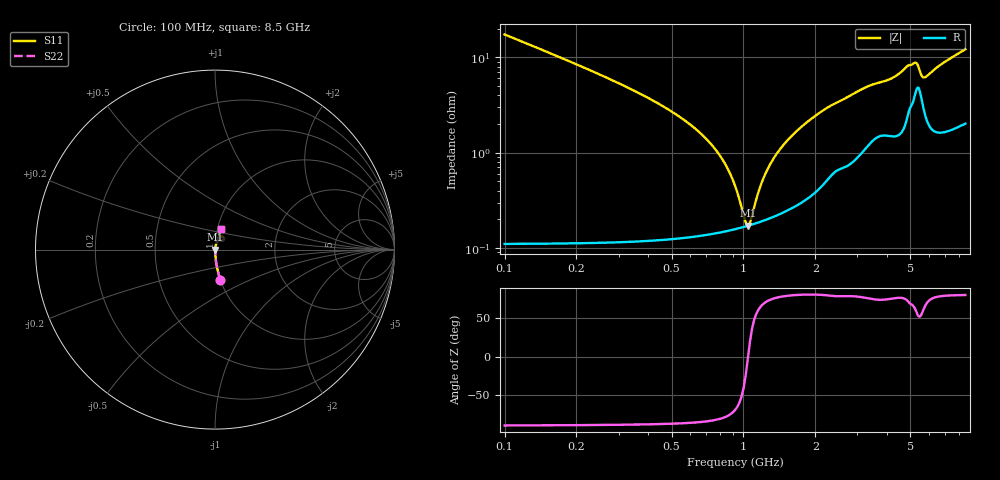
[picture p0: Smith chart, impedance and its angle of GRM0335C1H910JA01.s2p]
!Murata Part Number: GRM0335C1H910JA01
!These Parameters are Measured in Series Mode Connection
!Data Generated on Mar 30, 2021
!  o--ll--o
!Port1  Port2
!  o------o
!Operation Temp=25[degC], DC Bias Voltage=0[V]
!Freq. Start=100[MHz] Stop=9[GHz] 401[Steps]
# Hz S RI R 50
!Freq.(Hz) S11(Real) S11(Imag) S21(Real) S21(Imag) S12(Real) S12(Imag) S22(Real) S22(Imag)
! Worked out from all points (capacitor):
!   401 points, 100 MHz to 8.5 GHz, reference 50 ohm
!   read as one part in series: C = 91 pF near 142 MHz
!   lowest |Z| = 171 mohm at 1.045 GHz (marker M1)
!   series resonance near 1.045 GHz, so ESL is about 250 pH
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1e8  0.0302 -0.1679  0.9698 0.1679  0.9698 0.1679  0.0302 -0.1679
2.05e8  0.00779 -0.0813  0.9922 0.0813  0.9922 0.0813  0.00779 -0.0813
2.89e8  0.00425 -0.0556  0.9957 0.0556  0.9957 0.0556  0.00425 -0.0556
6.67e8  0.00159 -0.0155  0.9984 0.0155  0.9984 0.0155  0.00159 -0.0155
7.93e8  0.00154 -0.00937  0.9985 0.00937  0.9985 0.00937  0.00154 -0.00937
8.98e8  0.00157 -0.00511  0.9984 0.00511  0.9984 0.00511  0.00157 -0.00511
1.003e9  0.00166 -0.00139  0.9983 0.00139  0.9983 0.00139  0.00166 -0.00139
1.045e9  0.00171 -1.26e-05  0.9983 1.26e-05  0.9983 1.26e-05  0.00171 -1.26e-05
1.087e9  0.00176 0.00131  0.9982 -0.00131  0.9982 -0.00131  0.00176 0.00131
1.171e9  0.00189 0.00382  0.9981 -0.00382  0.9981 -0.00382  0.00189 0.00382
1.255e9  0.00203 0.00618  0.998 -0.00618  0.998 -0.00618  0.00203 0.00618
1.36e9  0.00224 0.00897  0.9978 -0.00897  0.9978 -0.00897  0.00224 0.00897
1.507e9  0.00259 0.0126  0.9974 -0.0126  0.9974 -0.0126  0.00259 0.0126
1.759e9  0.00335 0.0185  0.9966 -0.0185  0.9966 -0.0185  0.00335 0.0185
2.074e9  0.00479 0.0254  0.9952 -0.0254  0.9952 -0.0254  0.00479 0.0254
2.914e9  0.00983 0.0405  0.9902 -0.0405  0.9902 -0.0405  0.00983 0.0405
4.3e9  0.0181 0.0589  0.9819 -0.0589  0.9819 -0.0589  0.0181 0.0589
4.867e9  0.029 0.0735  0.971 -0.0735  0.971 -0.0735  0.029 0.0735
5.224e9  0.0439 0.0717  0.9561 -0.0717  0.9561 -0.0717  0.0439 0.0717
5.707e9  0.0295 0.0518  0.9705 -0.0518  0.9705 -0.0518  0.0295 0.0518
7.114e9  0.0242 0.0873  0.9758 -0.0873  0.9758 -0.0873  0.0242 0.0873
8.5e9  0.0331 0.1134  0.9669 -0.1134  0.9669 -0.1134  0.0331 0.1134
